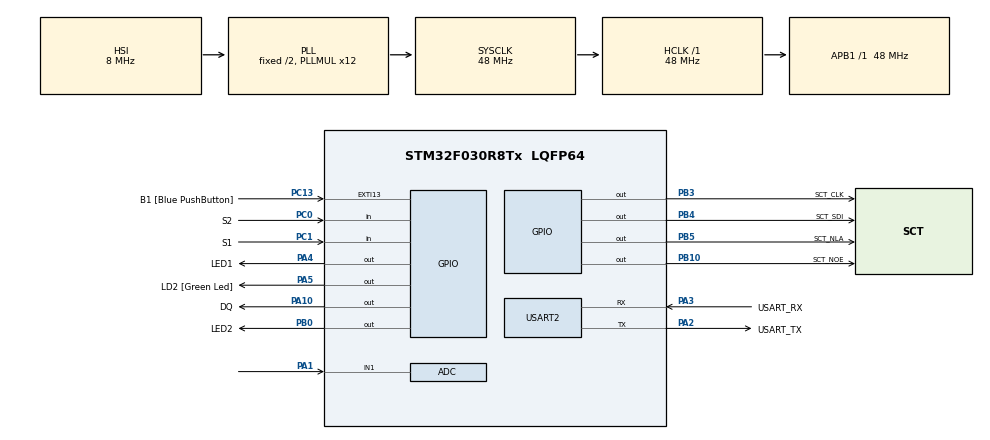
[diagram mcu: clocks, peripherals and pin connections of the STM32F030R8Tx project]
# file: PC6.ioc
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ADC.ContinuousConvMode=ENABLE
ADC.Overrun=ADC_OVR_DATA_OVERWRITTEN
ADC.Resolution=ADC_RESOLUTION_10B
ADC.SamplingTime=ADC_SAMPLETIME_71CYCLES_5
Mcu.Family=STM32F0
Mcu.Name=STM32F030R8Tx
Mcu.Package=LQFP64
PA1.Mode=IN1
PA1.Signal=ADC_IN1
PA10.GPIO_Label=DQ
PA10.GPIO_ModeDefaultOutputPP=GPIO_MODE_OUTPUT_OD
PA10.GPIO_PuPd=GPIO_PULLUP
PA10.PinState=GPIO_PIN_SET
PA10.Signal=GPIO_Output
PA13.GPIO_Label=TMS
PA13.Mode=Serial_Wire
PA13.Signal=SYS_SWDIO
PA14.GPIO_Label=TCK
PA14.Mode=Serial_Wire
PA14.Signal=SYS_SWCLK
PA2.GPIO_Label=USART_TX
PA2.GPIO_Mode=GPIO_MODE_AF_PP
PA2.GPIO_PuPd=GPIO_NOPULL
PA2.GPIO_Speed=GPIO_SPEED_FREQ_LOW
PA2.Mode=Asynchronous
PA2.Signal=USART2_TX
PA3.GPIO_Label=USART_RX
PA3.GPIO_Mode=GPIO_MODE_AF_PP
PA3.GPIO_PuPd=GPIO_NOPULL
PA3.GPIO_Speed=GPIO_SPEED_FREQ_LOW
PA3.Mode=Asynchronous
PA3.Signal=USART2_RX
PA4.GPIO_Label=LED1
PA4.Signal=GPIO_Output
PA5.GPIO_Label=LD2 [Green Led]
PA5.GPIO_Mode=GPIO_MODE_OUTPUT_PP
PA5.GPIO_PuPd=GPIO_NOPULL
PA5.GPIO_Speed=GPIO_SPEED_FREQ_LOW
PA5.Signal=GPIO_Output
PB0.GPIO_Label=LED2
PB0.Signal=GPIO_Output
PB10.GPIO_Label=SCT_NOE
PB10.Signal=GPIO_Output
PB3.GPIO_Label=SCT_CLK
PB3.Signal=GPIO_Output
PB4.GPIO_Label=SCT_SDI
PB4.Signal=GPIO_Output
PB5.GPIO_Label=SCT_NLA
PB5.Signal=GPIO_Output
PC0.GPIO_Label=S2
PC0.GPIO_PuPd=GPIO_PULLUP
PC0.Signal=GPIO_Input
PC1.GPIO_Label=S1
PC1.GPIO_PuPd=GPIO_PULLUP
PC1.Signal=GPIO_Input
PC13.GPIO_Label=B1 [Blue PushButton]
PC13.GPIO_ModeDefaultEXTI=GPIO_MODE_IT_FALLING
PC13.Signal=GPXTI13
PC14-OSC32_IN.Mode=LSE-External-Oscillator
PC14-OSC32_IN.Signal=RCC_OSC32_IN
PC15-OSC32_OUT.Mode=LSE-External-Oscillator
PC15-OSC32_OUT.Signal=RCC_OSC32_OUT
PF0-OSC_IN.Mode=HSE-External-Clock-Source
PF0-OSC_IN.Signal=RCC_OSC_IN
PF1-OSC_OUT.Signal=RCC_OSC_OUT
ProjectManager.HeapSize=0x200
ProjectManager.StackSize=0x400
ProjectManager.TargetToolchain=STM32CubeIDE
RCC.AHBFreq_Value=48000000
RCC.APB1Freq_Value=48000000
RCC.APB1TimFreq_Value=48000000
RCC.HCLKFreq_Value=48000000
RCC.PLLMUL=RCC_PLL_MUL12
RCC.SYSCLKFreq_VALUE=48000000
RCC.SYSCLKSource=RCC_SYSCLKSOURCE_PLLCLK
USART2.VirtualMode-Asynchronous=VM_ASYNC
board=NUCLEO-F030R8

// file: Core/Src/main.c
/* USER CODE BEGIN Header */
/**
  ******************************************************************************
  * @file           : main.c
  * @brief          : Main program body
  ******************************************************************************
  * @attention
  *
  * Copyright (c) 2025 STMicroelectronics.
  * All rights reserved.
  *
  * This software is licensed under terms that can be found in the LICENSE file
  * in the root directory of this software component.
  * If no LICENSE file comes with this software, it is provided AS-IS.
  *
  ******************************************************************************
  */
/* USER CODE END Header */
#include "main.h"

/* USER CODE BEGIN Includes */
#include "1wire.h"
#include "sct.h"

/* USER CODE END Includes */

/* USER CODE BEGIN PD */
/* Internal voltage reference calibration value address */
#define VREFINT_CAL_ADDR ((uint16_t*) ((uint32_t) 0x1FFFF7BA))

/* USER CODE END PD */

/* USER CODE BEGIN PM */

const int16_t ntc_table[1024] = {
     12500,  12500,  12500,  12500,  12500,  12500,  12500,  12500,  12500,  12500,  12500,  12500,  12500,  12500,  12500,  12500,
     12500,  12500,  12500,  12500,  12500,  12500,  12500,  12500,  12500,  12500,  12500,  12500,  12500,  12500,  12500,  12300,
     12200,  12100,  12000,  11900,  11800,  11700,  11600,  11500,  11400,  11300,  11200,  11150,  11100,  11000,  10900,  10800,
     10750,  10700,  10600,  10550,  10500,  10400,  10350,  10300,  10200,  10150,  10100,  10050,  10000,   9900,   9850,   9800,
      9750,   9700,   9650,   9600,   9550,   9500,   9450,   9400,   9350,   9300,   9250,   9200,   9167,   9133,   9100,   9050,
      9000,   8950,   8900,   8867,   8833,   8800,   8767,   8733,   8700,   8650,   8600,   8567,   8533,   8500,   8467,   8433,
      8400,   8367,   8333,   8300,   8267,   8233,   8200,   8167,   8133,   8100,   8067,   8033,   8000,   7967,   7933,   7900,
      7875,   7850,   7825,   7800,   7767,   7733,   7700,   7675,   7650,   7625,   7600,   7575,   7550,   7525,   7500,   7475,
      7450,   7425,   7400,   7375,   7350,   7325,   7300,   7275,   7250,   7225,   7200,   7175,   7150,   7125,   7100,   7075,
      7050,   7025,   7000,   6980,   6960,   6940,   6920,   6900,   6880,   6860,   6840,   6820,   6800,   6775,   6750,   6725,
      6700,   6680,   6660,   6640,   6620,   6600,   6580,   6560,   6540,   6520,   6500,   6483,   6467,   6450,   6433,   6417,
      6400,   6380,   6360,   6340,   6320,   6300,   6280,   6260,   6240,   6220,   6200,   6183,   6167,   6150,   6133,   6117,
      6100,   6083,   6067,   6050,   6033,   6017,   6000,   5983,   5967,   5950,   5933,   5917,   5900,   5883,   5867,   5850,
      5833,   5817,   5800,   5783,   5767,   5750,   5733,   5717,   5700,   5686,   5671,   5657,   5643,   5629,   5614,   5600,
      5586,   5571,   5557,   5543,   5529,   5514,   5500,   5486,   5471,   5457,   5443,   5429,   5414,   5400,   5386,   5371,
      5357,   5343,   5329,   5314,   5300,   5286,   5271,   5257,   5243,   5229,   5214,   5200,   5186,   5171,   5157,   5143,
      5129,   5114,   5100,   5088,   5075,   5062,   5050,   5038,   5025,   5012,   5000,   4988,   4975,   4962,   4950,   4938,
      4925,   4912,   4900,   4888,   4875,   4862,   4850,   4838,   4825,   4812,   4800,   4788,   4775,   4762,   4750,   4738,
      4725,   4712,   4700,   4688,   4675,   4662,   4650,   4638,   4625,   4612,   4600,   4589,   4578,   4567,   4556,   4544,
      4533,   4522,   4511,   4500,   4488,   4475,   4462,   4450,   4438,   4425,   4412,   4400,   4389,   4378,   4367,   4356,
      4344,   4333,   4322,   4311,   4300,   4289,   4278,   4267,   4256,   4244,   4233,   4222,   4211,   4200,   4189,   4178,
      4167,   4156,   4144,   4133,   4122,   4111,   4100,   4090,   4080,   4070,   4060,   4050,   4040,   4030,   4020,   4010,
      4000,   3989,   3978,   3967,   3956,   3944,   3933,   3922,   3911,   3900,   3890,   3880,   3870,   3860,   3850,   3840,
      3830,   3820,   3810,   3800,   3790,   3780,   3770,   3760,   3750,   3740,   3730,   3720,   3710,   3700,   3690,   3680,
      3670,   3660,   3650,   3640,   3630,   3620,   3610,   3600,   3591,   3582,   3573,   3564,   3555,   3545,   3536,   3527,
      3518,   3509,   3500,   3490,   3480,   3470,   3460,   3450,   3440,   3430,   3420,   3410,   3400,   3391,   3382,   3373,
      3364,   3355,   3345,   3336,   3327,   3318,   3309,   3300,   3290,   3280,   3270,   3260,   3250,   3240,   3230,   3220,
      3210,   3200,   3191,   3182,   3173,   3164,   3155,   3145,   3136,   3127,   3118,   3109,   3100,   3091,   3082,   3073,
      3064,   3055,   3045,   3036,   3027,   3018,   3009,   3000,   2991,   2982,   2973,   2964,   2955,   2945,   2936,   2927,
      2918,   2909,   2900,   2891,   2882,   2873,   2864,   2855,   2845,   2836,   2827,   2818,   2809,   2800,   2792,   2783,
      2775,   2767,   2758,   2750,   2742,   2733,   2725,   2717,   2708,   2700,   2691,   2682,   2673,   2664,   2655,   2645,
      2636,   2627,   2618,   2609,   2600,   2592,   2583,   2575,   2567,   2558,   2550,   2542,   2533,   2525,   2517,   2508,
      2500,   2491,   2482,   2473,   2464,   2455,   2445,   2436,   2427,   2418,   2409,   2400,   2392,   2383,   2375,   2367,
      2358,   2350,   2342,   2333,   2325,   2317,   2308,   2300,   2291,   2282,   2273,   2264,   2255,   2245,   2236,   2227,
      2218,   2209,   2200,   2192,   2183,   2175,   2167,   2158,   2150,   2142,   2133,   2125,   2117,   2108,   2100,   2092,
      2083,   2075,   2067,   2058,   2050,   2042,   2033,   2025,   2017,   2008,   2000,   1991,   1982,   1973,   1964,   1955,
      1945,   1936,   1927,   1918,   1909,   1900,   1892,   1883,   1875,   1867,   1858,   1850,   1842,   1833,   1825,   1817,
      1808,   1800,   1792,   1783,   1775,   1767,   1758,   1750,   1742,   1733,   1725,   1717,   1708,   1700,   1692,   1683,
      1675,   1667,   1658,   1650,   1642,   1633,   1625,   1617,   1608,   1600,   1591,   1582,   1573,   1564,   1555,   1545,
      1536,   1527,   1518,   1509,   1500,   1492,   1483,   1475,   1467,   1458,   1450,   1442,   1433,   1425,   1417,   1408,
      1400,   1391,   1382,   1373,   1364,   1355,   1345,   1336,   1327,   1318,   1309,   1300,   1292,   1283,   1275,   1267,
      1258,   1250,   1242,   1233,   1225,   1217,   1208,   1200,   1191,   1182,   1173,   1164,   1155,   1145,   1136,   1127,
      1118,   1109,   1100,   1091,   1082,   1073,   1064,   1055,   1045,   1036,   1027,   1018,   1009,   1000,    992,    983,
       975,    967,    958,    950,    942,    933,    925,    917,    908,    900,    891,    882,    873,    864,    855,    845,
       836,    827,    818,    809,    800,    790,    780,    770,    760,    750,    740,    730,    720,    710,    700,    691,
       682,    673,    664,    655,    645,    636,    627,    618,    609,    600,    591,    582,    573,    564,    555,    545,
       536,    527,    518,    509,    500,    490,    480,    470,    460,    450,    440,    430,    420,    410,    400,    390,
       380,    370,    360,    350,    340,    330,    320,    310,    300,    290,    280,    270,    260,    250,    240,    230,
       220,    210,    200,    190,    180,    170,    160,    150,    140,    130,    120,    110,    100,     89,     78,     67,
        56,     44,     33,     22,     11,      0,    -10,    -20,    -30,    -40,    -50,    -60,    -70,    -80,    -90,   -100,
      -111,   -122,   -133,   -144,   -156,   -167,   -178,   -189,   -200,   -211,   -222,   -233,   -244,   -256,   -267,   -278,
      -289,   -300,   -311,   -322,   -333,   -344,   -356,   -367,   -378,   -389,   -400,   -412,   -425,   -438,   -450,   -462,
      -475,   -488,   -500,   -511,   -522,   -533,   -544,   -556,   -567,   -578,   -589,   -600,   -612,   -625,   -638,   -650,
      -662,   -675,   -688,   -700,   -714,   -729,   -743,   -757,   -771,   -786,   -800,   -812,   -825,   -838,   -850,   -862,
      -875,   -888,   -900,   -914,   -929,   -943,   -957,   -971,   -986,  -1000,  -1014,  -1029,  -1043,  -1057,  -1071,  -1086,
     -1100,  -1114,  -1129,  -1143,  -1157,  -1171,  -1186,  -1200,  -1214,  -1229,  -1243,  -1257,  -1271,  -1286,  -1300,  -1317,
     -1333,  -1350,  -1367,  -1383,  -1400,  -1417,  -1433,  -1450,  -1467,  -1483,  -1500,  -1517,  -1533,  -1550,  -1567,  -1583,
     -1600,  -1617,  -1633,  -1650,  -1667,  -1683,  -1700,  -1720,  -1740,  -1760,  -1780,  -1800,  -1820,  -1840,  -1860,  -1880,
     -1900,  -1920,  -1940,  -1960,  -1980,  -2000,  -2020,  -2040,  -2060,  -2080,  -2100,  -2120,  -2140,  -2160,  -2180,  -2200,
     -2225,  -2250,  -2275,  -2300,  -2325,  -2350,  -2375,  -2400,  -2425,  -2450,  -2475,  -2500,  -2525,  -2550,  -2575,  -2600,
     -2625,  -2650,  -2675,  -2700,  -2733,  -2767,  -2800,  -2825,  -2850,  -2875,  -2900,  -2900,  -2900,  -2900,  -2900,  -2900,
     -2900,  -2900,  -2900,  -2900,  -2900,  -2900,  -2900,  -2900,  -2900,  -2900,  -2900,  -2900,  -2900,  -2900,  -2900,  -2900,
     -2900,  -2900,  -2900,  -2900,  -2900,  -2900,  -2900,  -2900,  -2900,  -2900,  -2900,  -2900,  -2900,  -2900,  -2900,  -2900,
     -2900,  -2900,  -2900,  -2900,  -2900,  -2900,  -2900,  -2900,  -2900,  -2900,  -2900,  -2900,  -2900,  -2900,  -2900,  -2900,
};

/* USER CODE END PM */

ADC_HandleTypeDef hadc;

UART_HandleTypeDef huart2;

void SystemClock_Config(void);
static void MX_GPIO_Init(void);
static void MX_USART2_UART_Init(void);
static void MX_ADC_Init(void);

int main(void)
{

  /* MCU Configuration--------------------------------------------------------*/

  /* Reset of all peripherals, Initializes the Flash interface and the Systick. */
  HAL_Init();

  /* Configure the system clock */
  SystemClock_Config();

  /* Initialize all configured peripherals */
  MX_GPIO_Init();
  MX_USART2_UART_Init();
  MX_ADC_Init();
  /* USER CODE BEGIN 2 */
  sct_init();
  OWInit();

  HAL_ADCEx_Calibration_Start(&hadc);
  HAL_ADC_Start(&hadc);

  unsigned long lastUpdate = HAL_GetTick();
  OWConvertAll();
  uint8_t updateReady = 0;
  /* USER CODE END 2 */

  /* Infinite loop */
  /* USER CODE BEGIN WHILE */
  while (1)
  {
	  static uint8_t select = 0;
	  if(lastUpdate + CONVERT_T_DELAY > HAL_GetTick())
	  {
		  OWConvertAll();
		  lastUpdate = HAL_GetTick();
		  updateReady = 1;

	  }
	  if(select == 1)
	  {

		  if(updateReady)
		  {
			  static int16_t temp = 0;
			  if(!OWReadTemperature(&temp))
			  {
				sct_value(0, 8, 0);
			  }
			  else
			  {
				sct_value(temp/10, 0, 2);
			  }
		  }

		  HAL_GPIO_WritePin(LED1_GPIO_Port, LED1_Pin, 1);
		  HAL_GPIO_WritePin(LED2_GPIO_Port, LED2_Pin, 0);
	  }
	  else if (select == 2)
	  {
		  sct_value(ntc_table[HAL_ADC_GetValue(&hadc)%1024]/10, 0, 2);
		  HAL_Delay(100);
		  HAL_GPIO_WritePin(LED1_GPIO_Port, LED1_Pin, 0);
		  HAL_GPIO_WritePin(LED2_GPIO_Port, LED2_Pin, 1);
	  }

	  if(!HAL_GPIO_ReadPin(S1_GPIO_Port, S1_Pin))
	  {
		  select = 2;
	  }
	  if(!HAL_GPIO_ReadPin(S2_GPIO_Port, S2_Pin))
	  {
		  select = 1;
	  }

    /* USER CODE END WHILE */

  }
}

void SystemClock_Config(void)
{
  RCC_OscInitTypeDef RCC_OscInitStruct = {0};
  RCC_ClkInitTypeDef RCC_ClkInitStruct = {0};

  /** Initializes the RCC Oscillators according to the specified parameters
  * in the RCC_OscInitTypeDef structure.
  */
  RCC_OscInitStruct.OscillatorType = RCC_OSCILLATORTYPE_HSI|RCC_OSCILLATORTYPE_HSI14;
  RCC_OscInitStruct.HSIState = RCC_HSI_ON;
  RCC_OscInitStruct.HSI14State = RCC_HSI14_ON;
  RCC_OscInitStruct.HSICalibrationValue = RCC_HSICALIBRATION_DEFAULT;
  RCC_OscInitStruct.HSI14CalibrationValue = 16;
  RCC_OscInitStruct.PLL.PLLState = RCC_PLL_ON;
  RCC_OscInitStruct.PLL.PLLSource = RCC_PLLSOURCE_HSI;
  RCC_OscInitStruct.PLL.PLLMUL = RCC_PLL_MUL12;
  RCC_OscInitStruct.PLL.PREDIV = RCC_PREDIV_DIV1;
  if (HAL_RCC_OscConfig(&RCC_OscInitStruct) != HAL_OK)
  {
    Error_Handler();
  }

  /** Initializes the CPU, AHB and APB buses clocks
  */
  RCC_ClkInitStruct.ClockType = RCC_CLOCKTYPE_HCLK|RCC_CLOCKTYPE_SYSCLK
                              |RCC_CLOCKTYPE_PCLK1;
  RCC_ClkInitStruct.SYSCLKSource = RCC_SYSCLKSOURCE_PLLCLK;
  RCC_ClkInitStruct.AHBCLKDivider = RCC_SYSCLK_DIV1;
  RCC_ClkInitStruct.APB1CLKDivider = RCC_HCLK_DIV1;

  if (HAL_RCC_ClockConfig(&RCC_ClkInitStruct, FLASH_LATENCY_1) != HAL_OK)
  {
    Error_Handler();
  }
}

static void MX_ADC_Init(void)
{

  ADC_ChannelConfTypeDef sConfig = {0};

  /** Configure the global features of the ADC (Clock, Resolution, Data Alignment and number of conversion)
  */
  hadc.Instance = ADC1;
  hadc.Init.ClockPrescaler = ADC_CLOCK_ASYNC_DIV1;
  hadc.Init.Resolution = ADC_RESOLUTION_10B;
  hadc.Init.DataAlign = ADC_DATAALIGN_RIGHT;
  hadc.Init.ScanConvMode = ADC_SCAN_DIRECTION_FORWARD;
  hadc.Init.EOCSelection = ADC_EOC_SINGLE_CONV;
  hadc.Init.LowPowerAutoWait = DISABLE;
  hadc.Init.LowPowerAutoPowerOff = DISABLE;
  hadc.Init.ContinuousConvMode = ENABLE;
  hadc.Init.DiscontinuousConvMode = DISABLE;
  hadc.Init.ExternalTrigConv = ADC_SOFTWARE_START;
  hadc.Init.ExternalTrigConvEdge = ADC_EXTERNALTRIGCONVEDGE_NONE;
  hadc.Init.DMAContinuousRequests = DISABLE;
  hadc.Init.Overrun = ADC_OVR_DATA_OVERWRITTEN;
  if (HAL_ADC_Init(&hadc) != HAL_OK)
  {
    Error_Handler();
  }

  /** Configure for the selected ADC regular channel to be converted.
  */
  sConfig.Channel = ADC_CHANNEL_1;
  sConfig.Rank = ADC_RANK_CHANNEL_NUMBER;
  sConfig.SamplingTime = ADC_SAMPLETIME_71CYCLES_5;
  if (HAL_ADC_ConfigChannel(&hadc, &sConfig) != HAL_OK)
  {
    Error_Handler();
  }

}

static void MX_USART2_UART_Init(void)
{

  huart2.Instance = USART2;
  huart2.Init.BaudRate = 38400;
  huart2.Init.WordLength = UART_WORDLENGTH_8B;
  huart2.Init.StopBits = UART_STOPBITS_1;
  huart2.Init.Parity = UART_PARITY_NONE;
  huart2.Init.Mode = UART_MODE_TX_RX;
  huart2.Init.HwFlowCtl = UART_HWCONTROL_NONE;
  huart2.Init.OverSampling = UART_OVERSAMPLING_16;
  huart2.Init.OneBitSampling = UART_ONE_BIT_SAMPLE_DISABLE;
  huart2.AdvancedInit.AdvFeatureInit = UART_ADVFEATURE_NO_INIT;
  if (HAL_UART_Init(&huart2) != HAL_OK)
  {
    Error_Handler();
  }

}

static void MX_GPIO_Init(void)
{
  GPIO_InitTypeDef GPIO_InitStruct = {0};

  /* GPIO Ports Clock Enable */
  __HAL_RCC_GPIOC_CLK_ENABLE();
  __HAL_RCC_GPIOF_CLK_ENABLE();
  __HAL_RCC_GPIOA_CLK_ENABLE();
  __HAL_RCC_GPIOB_CLK_ENABLE();

  /*Configure GPIO pin Output Level */
  HAL_GPIO_WritePin(GPIOA, LED1_Pin|LD2_Pin, GPIO_PIN_RESET);

  /*Configure GPIO pin Output Level */
  HAL_GPIO_WritePin(GPIOB, LED2_Pin|SCT_NOE_Pin|SCT_CLK_Pin|SCT_SDI_Pin
                          |SCT_NLA_Pin, GPIO_PIN_RESET);

  /*Configure GPIO pin Output Level */
  HAL_GPIO_WritePin(DQ_GPIO_Port, DQ_Pin, GPIO_PIN_SET);

  /*Configure GPIO pin : B1_Pin */
  GPIO_InitStruct.Pin = B1_Pin;
  GPIO_InitStruct.Mode = GPIO_MODE_IT_FALLING;
  GPIO_InitStruct.Pull = GPIO_NOPULL;
  HAL_GPIO_Init(B1_GPIO_Port, &GPIO_InitStruct);

  /*Configure GPIO pins : S2_Pin S1_Pin */
  GPIO_InitStruct.Pin = S2_Pin|S1_Pin;
  GPIO_InitStruct.Mode = GPIO_MODE_INPUT;
  GPIO_InitStruct.Pull = GPIO_PULLUP;
  HAL_GPIO_Init(GPIOC, &GPIO_InitStruct);

  /*Configure GPIO pins : LED1_Pin LD2_Pin */
  GPIO_InitStruct.Pin = LED1_Pin|LD2_Pin;
  GPIO_InitStruct.Mode = GPIO_MODE_OUTPUT_PP;
  GPIO_InitStruct.Pull = GPIO_NOPULL;
  GPIO_InitStruct.Speed = GPIO_SPEED_FREQ_LOW;
  HAL_GPIO_Init(GPIOA, &GPIO_InitStruct);

  /*Configure GPIO pins : LED2_Pin SCT_NOE_Pin SCT_CLK_Pin SCT_SDI_Pin
                           SCT_NLA_Pin */
  GPIO_InitStruct.Pin = LED2_Pin|SCT_NOE_Pin|SCT_CLK_Pin|SCT_SDI_Pin
                          |SCT_NLA_Pin;
  GPIO_InitStruct.Mode = GPIO_MODE_OUTPUT_PP;
  GPIO_InitStruct.Pull = GPIO_NOPULL;
  GPIO_InitStruct.Speed = GPIO_SPEED_FREQ_LOW;
  HAL_GPIO_Init(GPIOB, &GPIO_InitStruct);

  /*Configure GPIO pin : DQ_Pin */
  GPIO_InitStruct.Pin = DQ_Pin;
  GPIO_InitStruct.Mode = GPIO_MODE_OUTPUT_OD;
  GPIO_InitStruct.Pull = GPIO_PULLUP;
  GPIO_InitStruct.Speed = GPIO_SPEED_FREQ_LOW;
  HAL_GPIO_Init(DQ_GPIO_Port, &GPIO_InitStruct);

}

void Error_Handler(void)
{
  __disable_irq();
  while (1)
  {
  }
}
